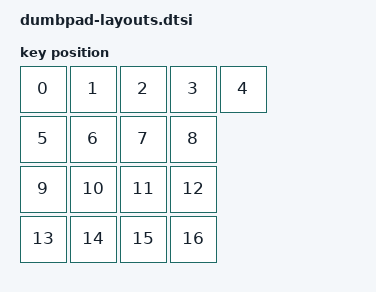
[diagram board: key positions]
#include <physical_layouts.dtsi>

/ {
    layouts {
        compatible = "zmk,physical-layouts";
        default_layout: default_layout {
            compatible = "zmk,physical-layout";
            display-name = "Default Layout";
            transform = <&default_transform>;
            kscan = <&kscan0>;
            keys  // Koordinaten für ZMK Studio (Breite Höhe X Y Rot Spalte Zeile)
                = <&key_physical_attrs 100 100 0 0 0 0 0>
                , <&key_physical_attrs 100 100 100 0 0 1 0>
                , <&key_physical_attrs 100 100 200 0 0 2 0>
                , <&key_physical_attrs 100 100 300 0 0 3 0>
                , <&key_physical_attrs 100 100 400 0 0 4 0> // Encoder-Button RC(0,4)
                
                , <&key_physical_attrs 100 100 0 100 0 0 1>
                , <&key_physical_attrs 100 100 100 100 0 1 1>
                , <&key_physical_attrs 100 100 200 100 0 2 1>
                , <&key_physical_attrs 100 100 300 100 0 3 1>
                
                , <&key_physical_attrs 100 100 0 200 0 0 2>
                , <&key_physical_attrs 100 100 100 200 0 1 2>
                , <&key_physical_attrs 100 100 200 200 0 2 2>
                , <&key_physical_attrs 100 100 300 200 0 3 2>
                
                , <&key_physical_attrs 100 100 0 300 0 0 3>
                , <&key_physical_attrs 100 100 100 300 0 1 3>
                , <&key_physical_attrs 100 100 200 300 0 2 3>
                , <&key_physical_attrs 100 100 300 300 0 3 3>
                ;
        };
    };
};
